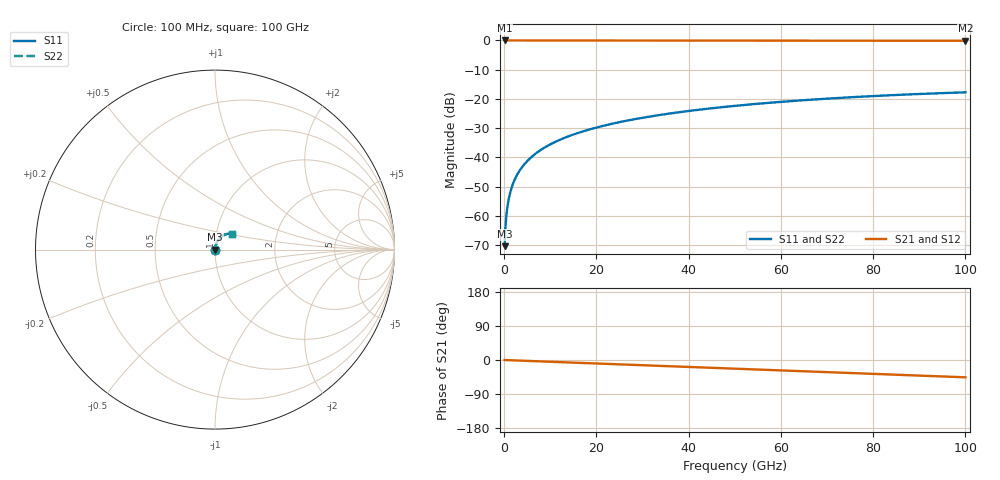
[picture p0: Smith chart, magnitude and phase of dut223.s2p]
! Touchstone file exported from HFSS 2026.1.0
!  File:  C:/ffzhzh/LocalFiles/Ansys_Project_Files/temp_train_TSV_223_1783507846_9504.aedt
!  Generated:  06:52:09 PM Jul  8, 2026
!  Design:  TSV
!  Project:  temp_train_TSV_223_1783507846_9504
! Variables:
!  h_bsmrdl = 2um
!  h_ox = 20um
!  h_rdl = 5um
!  h_sub = 92.42um
!  h_tmrdl = 5um
!  h_tsv = 92.42um
!  h_via = 3um
!  l_bsmrdl = 300um
!  l_sub = 415.44um
!  l_tmrdl = 200um
!  m_sub = 200um
!  pitch = 40.64um
!  r_tsv = 7.72um
!  s_tmrdl = 10um
!  w_bsmrdl = 18um
!  w_sub = 500um
!  w_tmrdl = 12um
!  x_tsv_center1 = 206um
!  x_tsv_center2 = 524um
!  x_tsv_center3 = 736um
!  x_tsv_center4 = 1054um
!  x_tsv_center5 = 1266um
!  x_tsv_center6 = 1584um
# GHz S MA R 50.000000
! Terminal data exported
! Port[1] = TSV1_1_T1
! Port[2] = TSV1_1_T2
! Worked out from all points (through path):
!   1000 points, 100 MHz to 100 GHz, reference 50 ohm
!   highest |S21| = 0.00 dB at 100 MHz (marker M1); lowest = -0.1 dB at 100 GHz (marker M2)
!   group delay of S21, straight-line fit = 1.27 ps
!   lowest |S11| = -70.4 dB at 100 MHz (marker M3), VSWR 1.00, Z = 50 + j0.0211 ohm
!   |S11| at or under -10 dB: start of sweep to end of sweep
!   |S22| runs from -70.4 to -17.8 dB; largest |S21 - S12| = 3.2e-15
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0.1  0.000301 44.6  0.9998 -0.0  0.9998 -0.0  0.000301 44.6
! Gamma 0 0 0 0
! Port Impedance 50 0 50 0
0.4  0.0008549 71.4  0.9997 -0.2  0.9997 -0.2  0.0008549 71.4
0.7  0.001404 76.1  0.9997 -0.3  0.9997 -0.3  0.001404 76.1
0.8  0.001584 76.9  0.9996 -0.4  0.9996 -0.4  0.001584 76.9
1.1  0.002117 78.7  0.9996 -0.5  0.9996 -0.5  0.002117 78.7
1.4  0.002643 79.6  0.9995 -0.7  0.9995 -0.7  0.002643 79.6
1.9  0.003506 80.5  0.9995 -0.9  0.9995 -0.9  0.003506 80.5
2.4  0.004352 81.0  0.9994 -1.1  0.9994 -1.1  0.004352 81.0
3.1  0.005516 81.4  0.9993 -1.5  0.9993 -1.5  0.005516 81.4
3.9  0.006828 81.7  0.9992 -1.8  0.9992 -1.8  0.006828 81.7
4.9  0.008453 81.8  0.9991 -2.3  0.9991 -2.3  0.008453 81.8
6.1  0.01039 81.9  0.999 -2.8  0.999 -2.8  0.01039 81.9
8.9  0.01489 81.4  0.9987 -4.1  0.9987 -4.1  0.01489 81.4
12.4  0.02044 80.3  0.9984 -5.7  0.9984 -5.7  0.02044 80.3
16.8  0.02734 78.8  0.998 -7.8  0.998 -7.8  0.02734 78.8
24.2  0.03873 76.0  0.9973 -11.2  0.9973 -11.2  0.03873 76.0
33.4  0.05251 72.2  0.9963 -15.4  0.9963 -15.4  0.05251 72.2
41.2  0.06377 68.8  0.9954 -18.9  0.9954 -18.9  0.06377 68.8
50.1  0.07604 65.0  0.9943 -23.0  0.9943 -23.0  0.07604 65.0
66.7  0.09702 57.7  0.9921 -30.6  0.9921 -30.6  0.09702 57.7
83.4  0.1151 50.3  0.9898 -38.1  0.9898 -38.1  0.1151 50.3
100  0.1294 42.9  0.9877 -45.7  0.9877 -45.7  0.1294 42.9
